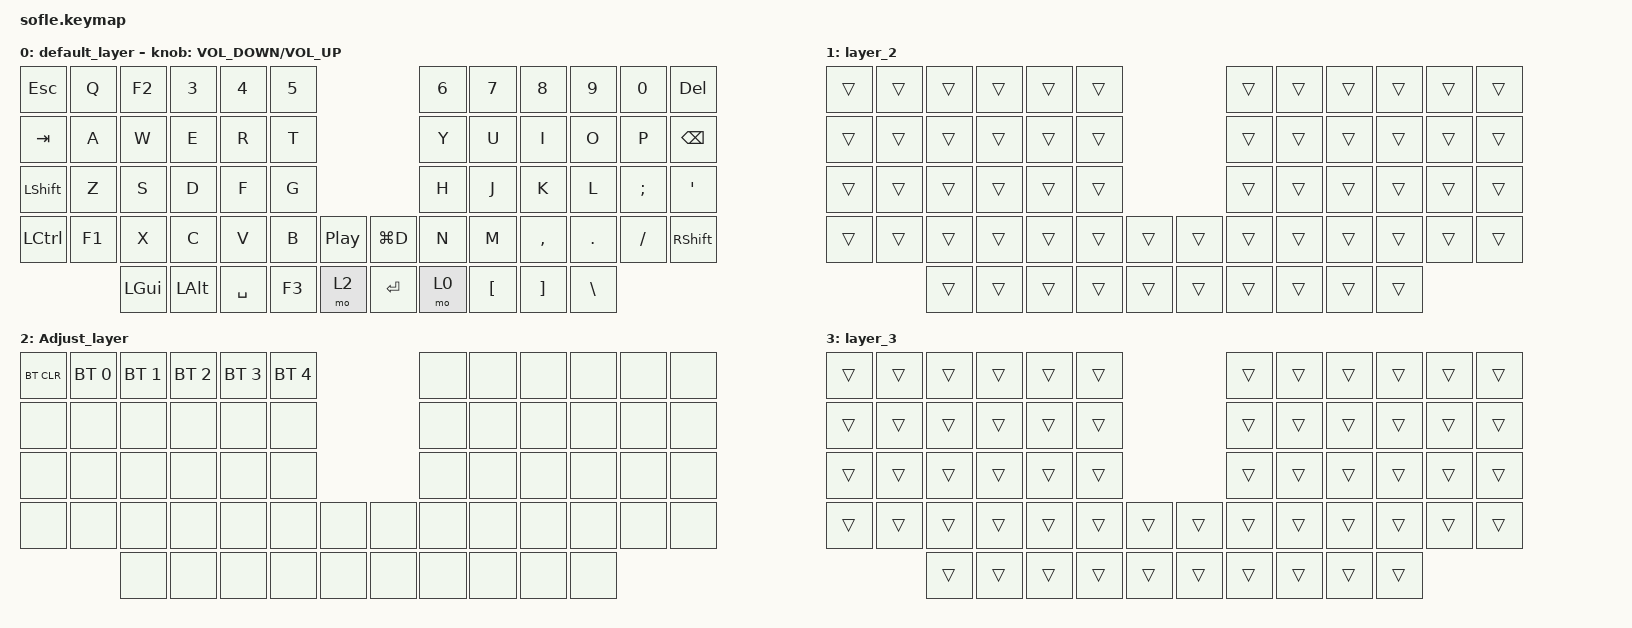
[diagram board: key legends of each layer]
/*
 * Copyright (c) 2020 The ZMK Contributors
 *
 * SPDX-License-Identifier: MIT
 */

#include <behaviors.dtsi>
#include <dt-bindings/zmk/bt.h>
#include <dt-bindings/zmk/keys.h>

#define BASE 0
#define LOWER 1
#define RAISE 2
#define ADJUST 3

/ {
    // Activate ADJUST layer by pressing raise and lower

    conditional_layers {
        compatible = "zmk,conditional-layers";

        adjust_layer {
            if-layers = <2 2>;
            then-layer = <2>;
        };
    };

    keymap {
        compatible = "zmk,keymap";

        default_layer {
            // ------------------------------------------------------------------------------------------------------------
            // |  ESC  |  1  |  2  |  3   |  4   |  5   |                   |  6   |  7    |  8    |  9   |   0   |   -   |
            // |  TAB  |  Q  |  W  |  E   |  R   |  T   |                   |  Y   |  U    |  I    |  O   |   P   | BKSPC |
            // | SHIFT |  A  |  S  |  D   |  F   |  G   |                   |  H   |  J    |  K    |  L   |   ;   |   '   |
            // | LCTRL |  Z  |  X  |  C   |  V   |  B   |  MUTE  |  |       |  N   |  M    |  ,    |  .   |   /   | SHIFT |
            //               | GUI | CLCK | ALT  | ENTER|  LOWER |  | RAISE | SPACE | CTRL | ALT   | GUI  |

            bindings = <
&kp ESC           &kp Q   &kp F2        &kp N3    &kp N4     &kp N5                         &kp N6  &kp N7    &kp N8     &kp N9    &kp N0    &kp DEL
&kp TAB           &kp A   &kp W         &kp E     &kp R      &kp T                          &kp Y   &kp U     &kp I      &kp O     &kp P     &kp BSPC
&kp LEFT_SHIFT    &kp Z   &kp S         &kp D     &kp F      &kp G                          &kp H   &kp J     &kp K      &kp L     &kp SEMI  &kp SQT
&kp LEFT_CONTROL  &kp F1  &kp X         &kp C     &kp V      &kp B   &kp C_PP    &kp LG(D)  &kp N   &kp M     &kp COMMA  &kp DOT   &kp FSLH  &kp RSHFT
                          &kp LEFT_GUI  &kp LALT  &kp SPACE  &kp F3  &mo 2       &kp RET    &mo 0   &kp LBKT  &kp RBKT   &kp BSLH
            >;

            sensor-bindings = <&inc_dec_kp C_VOLUME_DOWN C_VOL_UP>;
        };

        layer_2 {
            bindings = <
&trans  &trans  &trans  &trans  &trans  &trans                    &trans  &trans  &trans  &trans  &trans  &trans
&trans  &trans  &trans  &trans  &trans  &trans                    &trans  &trans  &trans  &trans  &trans  &trans
&trans  &trans  &trans  &trans  &trans  &trans                    &trans  &trans  &trans  &trans  &trans  &trans
&trans  &trans  &trans  &trans  &trans  &trans  &trans    &trans  &trans  &trans  &trans  &trans  &trans  &trans
                &trans  &trans  &trans  &trans  &trans    &trans  &trans  &trans  &trans  &trans
            >;
        };

        Adjust_layer {
            bindings = <
&bt BT_CLR  &bt BT_SEL 0  &bt BT_SEL 1  &bt BT_SEL 2  &bt BT_SEL 3  &bt BT_SEL 4                  &none  &none  &none  &none  &none  &none
&none       &none         &none         &none         &none         &none                         &none  &none  &none  &none  &none  &none
&none       &none         &none         &none         &none         &none                         &none  &none  &none  &none  &none  &none
&none       &none         &none         &none         &none         &none         &none    &none  &none  &none  &none  &none  &none  &none
                          &none         &none         &none         &none         &none    &none  &none  &none  &none  &none
            >;
        };

        layer_3 {
            bindings = <
&trans  &trans  &trans  &trans  &trans  &trans                    &trans  &trans  &trans  &trans  &trans  &trans
&trans  &trans  &trans  &trans  &trans  &trans                    &trans  &trans  &trans  &trans  &trans  &trans
&trans  &trans  &trans  &trans  &trans  &trans                    &trans  &trans  &trans  &trans  &trans  &trans
&trans  &trans  &trans  &trans  &trans  &trans  &trans    &trans  &trans  &trans  &trans  &trans  &trans  &trans
                &trans  &trans  &trans  &trans  &trans    &trans  &trans  &trans  &trans  &trans
            >;
        };
    };
};
